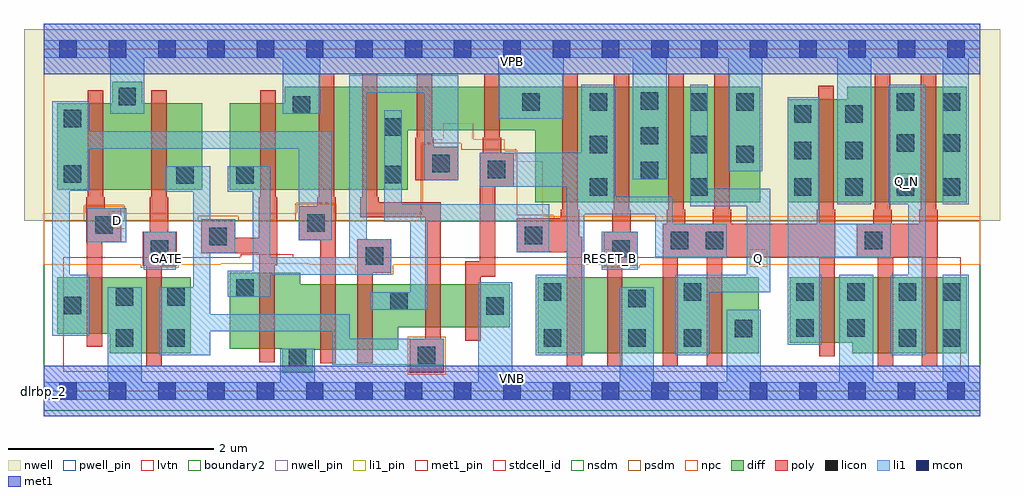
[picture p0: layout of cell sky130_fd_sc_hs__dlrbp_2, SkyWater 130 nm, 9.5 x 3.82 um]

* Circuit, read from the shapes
.subckt sky130_fd_sc_hs__dlrbp_2 D GATE Q Q_N RESET_B VGND VNB VPB VPWR
XM1 VGND D n1 VNB sky130_fd_pr__nfet_01v8_lvt w=0.55 l=0.15
XM2 n2 GATE VGND VNB sky130_fd_pr__nfet_01v8_lvt w=0.74 l=0.15
XM3 VGND n2 n3 VNB sky130_fd_pr__nfet_01v8_lvt w=0.74 l=0.15
XM4 n4 n1 VGND VNB sky130_fd_pr__nfet_01v8_lvt w=0.64 l=0.15
XM5 n5 n3 n4 VNB sky130_fd_pr__nfet_01v8_lvt w=0.64 l=0.15
XM6 n6 n2 n5 VNB sky130_fd_pr__nfet_01v8_lvt w=0.42 l=0.15
XM7 VGND n7 n6 VNB sky130_fd_pr__nfet_01v8_lvt w=0.42 l=0.15
XM8 n8 n5 n7 VNB sky130_fd_pr__nfet_01v8_lvt w=0.74 l=0.15
XM9 VGND RESET_B n8 VNB sky130_fd_pr__nfet_01v8_lvt w=0.74 l=0.15
XM10 Q n7 VGND VNB sky130_fd_pr__nfet_01v8_lvt w=0.74 l=0.15 m=2
XM11 VGND n7 n9 VNB sky130_fd_pr__nfet_01v8_lvt w=0.64 l=0.15
XM12 Q_N n9 VGND VNB sky130_fd_pr__nfet_01v8_lvt w=0.74 l=0.15 m=2
XM13 VPWR D n1 VPB sky130_fd_pr__pfet_01v8 w=0.84 l=0.15
XM14 n2 GATE VPWR VPB sky130_fd_pr__pfet_01v8 w=0.84 l=0.15
XM15 VPWR n2 n3 VPB sky130_fd_pr__pfet_01v8 w=0.84 l=0.15
XM16 n10 n1 VPWR VPB sky130_fd_pr__pfet_01v8 w=1 l=0.15
XM17 n5 n2 n10 VPB sky130_fd_pr__pfet_01v8 w=1 l=0.15
XM18 n11 n3 n5 VPB sky130_fd_pr__pfet_01v8 w=0.42 l=0.15
XM19 VPWR n7 n11 VPB sky130_fd_pr__pfet_01v8 w=0.42 l=0.15
XM20 n7 n5 VPWR VPB sky130_fd_pr__pfet_01v8 w=1.12 l=0.15
XM21 VPWR RESET_B n7 VPB sky130_fd_pr__pfet_01v8 w=1.12 l=0.15
XM22 Q n7 VPWR VPB sky130_fd_pr__pfet_01v8 w=1.12 l=0.15 m=2
XM23 VPWR n7 n9 VPB sky130_fd_pr__pfet_01v8 w=1 l=0.15
XM24 Q_N n9 VPWR VPB sky130_fd_pr__pfet_01v8 w=1.12 l=0.15 m=2
.ends

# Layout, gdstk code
import gdstk
lib = gdstk.Library(unit=1e-6, precision=1e-09)
def R(c, l, rs):  # rectangles x0, y0, x1, y1
    for r in rs: c.add(gdstk.rectangle(r[:2], r[2:], *l))
def A(c, l, x, y, w, h, nx, ny, dx, dy):  # array of equal rectangles
    R(c, l, [(x+i*dx, y+j*dy, x+i*dx+w, y+j*dy+h) for i in range(nx) for j in range(ny)])
def P(c, l, *ps):  # polygons
    for p in ps: c.add(gdstk.Polygon(p, *l))
nwell_pin = (64, 16)
nwell = (64, 20)
diff = (65, 20)
poly = (66, 20)
licon = (66, 44)
li1_pin = (67, 16)
li1 = (67, 20)
mcon = (67, 44)
met1_pin = (68, 16)
met1 = (68, 20)
stdcell_id = (81, 4)
nsdm = (93, 44)
psdm = (94, 20)
npc = (95, 20)
pwell_pin = (122, 16)
lvtn = (125, 44)
boundary2 = (236, 0)

sky130_fd_sc_hs__dlrbp_2 = lib.new_cell('sky130_fd_sc_hs__dlrbp_2')
R(sky130_fd_sc_hs__dlrbp_2, nwell_pin, [(0,3.085,9.12,3.33)])
R(sky130_fd_sc_hs__dlrbp_2, nwell, [(-0.19,1.66,9.31,3.52)])
R(sky130_fd_sc_hs__dlrbp_2, diff, [(4.81,0.37,6.96,1.11)])
P(sky130_fd_sc_hs__dlrbp_2, diff, [(1.435,1.11),(0.135,1.11),(0.135,0.56),(0.645,0.56),(0.645,0.37),(1.435,0.37)],
  [(1.545,2.8),(0.96,2.8),(0.96,3.01),(0.67,3.01),(0.67,2.8),(0.135,2.8),(0.135,1.96),(1.545,1.96)],
  [(4.54,1.04),(2.5,1.04),(2.5,1.15),(1.815,1.15),(1.815,0.41),(2.325,0.41),(2.325,0.18),(2.62,0.18),(2.62,0.4),(3.455,0.4),(3.455,0.62),(4.54,0.62)],
  [(6.975,2.96),(2.35,2.96),(2.35,2.8),(1.815,2.8),(1.815,1.96),(3.545,1.96),(3.545,2.54),(4.785,2.54),(4.785,1.84),(6.975,1.84)],
  [(8.985,2.96),(7.825,2.96),(7.825,2.84),(7.245,2.84),(7.245,1.84),(8.985,1.84)],
  [(8.985,1.11),(7.265,1.11),(7.265,0.47),(7.87,0.47),(7.87,0.37),(8.985,0.37)])
P(sky130_fd_sc_hs__dlrbp_2, poly, [(1.295,1.55),(1.215,1.55),(1.215,1.885),(1.2,1.885),(1.2,2.93),(1.05,2.93),(1.05,1.885),(1.035,1.885),(1.035,1.55),(0.965,1.55),(0.965,1.22),(1,1.22),(1,0.24),(1.15,0.24),(1.15,1.22),(1.295,1.22)],
  [(0.755,1.78),(0.595,1.78),(0.595,1.885),(0.58,1.885),(0.58,2.93),(0.43,2.93),(0.43,1.885),(0.415,1.885),(0.415,1.45),(0.42,1.45),(0.42,0.43),(0.57,0.43),(0.57,1.45),(0.755,1.45)],
  [(2.275,1.885),(2.26,1.885),(2.26,2.93),(2.11,2.93),(2.11,1.885),(2.095,1.885),(2.095,1.49),(1.865,1.49),(1.865,1.67),(1.535,1.67),(1.535,1.34),(2.1,1.34),(2.1,0.28),(2.25,0.28),(2.25,1.225),(2.275,1.225)],
  [(2.845,1.885),(2.83,1.885),(2.83,3.09),(2.68,3.09),(2.68,1.885),(2.665,1.885),(2.665,1.8),(2.485,1.8),(2.485,1.47),(2.695,1.47),(2.695,0.27),(2.845,0.27)],
  [(3.385,1.48),(3.055,1.48),(3.055,0.27),(3.205,0.27),(3.205,1.15),(3.385,1.15)],
  [(3.895,0.51),(3.865,0.51),(3.865,1.84),(3.265,1.84),(3.265,1.885),(3.25,1.885),(3.25,3.09),(3.1,3.09),(3.1,1.885),(3.085,1.885),(3.085,1.69),(3.715,1.69),(3.715,0.51),(3.565,0.51),(3.565,0.18),(3.895,0.18)],
  [(4.035,2.38),(3.8,2.38),(3.8,2.465),(3.785,2.465),(3.785,3.09),(3.635,3.09),(3.635,2.465),(3.62,2.465),(3.62,2.05),(4.035,2.05)],
  [(4.575,2.32),(4.455,2.32),(4.455,2.465),(4.44,2.465),(4.44,3.09),(4.29,3.09),(4.29,2.465),(4.275,2.465),(4.275,2.32),(4.245,2.32),(4.245,1.265),(4.105,1.265),(4.105,0.49),(4.255,0.49),(4.255,1.115),(4.395,1.115),(4.395,1.99),(4.575,1.99)],
  [(5.245,1.5),(5.215,1.5),(5.215,1.765),(5.2,1.765),(5.2,3.09),(5.05,3.09),(5.05,1.765),(5.035,1.765),(5.035,1.68),(4.605,1.68),(4.605,1.35),(5.095,1.35),(5.095,0.24),(5.245,0.24)],
  [(5.785,1.55),(5.715,1.55),(5.715,1.765),(5.7,1.765),(5.7,3.09),(5.55,3.09),(5.55,1.765),(5.535,1.765),(5.535,1.55),(5.455,1.55),(5.455,1.22),(5.485,1.22),(5.485,0.24),(5.635,0.24),(5.635,1.22),(5.785,1.22)],
  [(7.705,1.765),(7.69,1.765),(7.69,2.97),(7.54,2.97),(7.54,1.765),(7.525,1.765),(7.525,1.63),(6.695,1.63),(6.695,1.765),(6.68,1.765),(6.68,3.09),(6.53,3.09),(6.53,1.765),(6.515,1.765),(6.515,1.63),(6.245,1.63),(6.245,1.765),(6.23,1.765),(6.23,3.09),(6.08,3.09),(6.08,1.765),(6.065,1.765),(6.065,1.63),(6.025,1.63),(6.025,0.24),(6.175,0.24),(6.175,1.3),(6.455,1.3),(6.455,0.24),(6.605,0.24),(6.605,1.3),(7.55,1.3),(7.55,0.34),(7.7,0.34),(7.7,1.3),(7.705,1.3)],
  [(8.705,1.765),(8.69,1.765),(8.69,3.09),(8.54,3.09),(8.54,1.765),(8.525,1.765),(8.525,1.63),(8.255,1.63),(8.255,1.765),(8.24,1.765),(8.24,3.09),(8.09,3.09),(8.09,1.765),(8.075,1.765),(8.075,1.63),(7.915,1.63),(7.915,1.3),(8.12,1.3),(8.12,0.24),(8.27,0.24),(8.27,1.3),(8.55,1.3),(8.55,0.24),(8.7,0.24),(8.7,1.3),(8.705,1.3)])
A(sky130_fd_sc_hs__dlrbp_2, licon, 7.325, 0.88, 0.17, 0.17, 3, 1, 0.5, 0)
A(sky130_fd_sc_hs__dlrbp_2, licon, 5.315, 1.9, 0.17, 0.17, 1, 3, 0, 0.415)
A(sky130_fd_sc_hs__dlrbp_2, licon, 6.295, 1.9, 0.17, 0.17, 1, 3, 0, 0.415)
A(sky130_fd_sc_hs__dlrbp_2, licon, 7.305, 1.9, 0.17, 0.17, 3, 1, 0.5, 0)
A(sky130_fd_sc_hs__dlrbp_2, licon, 5.815, 2.06, 0.17, 0.17, 1, 3, 0, 0.34)
R(sky130_fd_sc_hs__dlrbp_2, licon, [(2.385,0.24,2.555,0.41), (3.645,0.26,3.815,0.43), (0.705,0.43,0.875,0.6), (1.205,0.43,1.375,0.6), (4.87,0.43,5.04,0.6), (5.69,0.43,5.86,0.6), (6.23,0.43,6.4,0.6), (8.325,0.43,8.495,0.6), (8.755,0.43,8.925,0.6), (6.73,0.525,6.9,0.695), (7.325,0.53,7.495,0.7), (7.825,0.53,7.995,0.7), (4.31,0.745,4.48,0.915), (0.195,0.75,0.365,0.92), (3.375,0.79,3.545,0.96), (5.69,0.815,5.86,0.985), (0.705,0.83,0.875,1), (1.205,0.83,1.375,1), (4.87,0.88,5.04,1.05), (6.23,0.88,6.4,1.05), (8.755,0.88,8.925,1.05), (1.875,0.92,2.045,1.09), (3.135,1.23,3.305,1.4), (1.045,1.3,1.215,1.47), (5.535,1.3,5.705,1.47), (6.105,1.38,6.275,1.55), (6.445,1.38,6.615,1.55), (7.995,1.38,8.165,1.55), (1.615,1.42,1.785,1.59), (4.685,1.43,4.855,1.6), (0.505,1.53,0.675,1.7), (2.565,1.55,2.735,1.72), (8.755,1.9,8.925,2.07), (1.29,2.02,1.46,2.19), (1.875,2.02,2.045,2.19), (3.315,2.025,3.485,2.195), (0.195,2.03,0.365,2.2), (4.325,2.07,4.495,2.24), (3.785,2.13,3.955,2.3), (6.745,2.22,6.915,2.39), (7.305,2.255,7.475,2.425), (7.805,2.255,7.975,2.425), (8.305,2.33,8.475,2.5), (8.755,2.33,8.925,2.5), (3.315,2.485,3.485,2.655), (0.195,2.57,0.365,2.74), (7.305,2.61,7.475,2.78), (7.805,2.61,7.975,2.78), (2.425,2.7,2.595,2.87), (4.66,2.73,4.83,2.9), (6.745,2.73,6.915,2.9), (8.305,2.73,8.475,2.9), (8.755,2.73,8.925,2.9), (0.73,2.78,0.9,2.95)])
R(sky130_fd_sc_hs__dlrbp_2, li1_pin, [(1.115,1.21,1.285,1.38), (5.435,1.21,5.605,1.38), (6.875,1.21,7.045,1.38), (0.635,1.58,0.805,1.75), (8.315,1.95,8.485,2.12)])
R(sky130_fd_sc_hs__dlrbp_2, li1, [(0.975,1.18,1.285,1.55), (5.435,1.18,5.785,1.55), (0.425,1.45,0.805,1.78)])
P(sky130_fd_sc_hs__dlrbp_2, li1, [(0.65,2.7),(0.65,3.245),(0,3.245),(0,3.415),(9.12,3.415),(9.12,3.245),(9.005,3.245),(9.005,1.82),(8.755,1.82),(8.755,3.245),(8.055,3.245),(8.055,1.82),(7.725,1.82),(7.725,3.245),(6.995,3.245),(6.995,2.14),(6.665,2.14),(6.665,3.245),(6.065,3.245),(6.065,2.06),(5.735,2.06),(5.735,3.245),(5.065,3.245),(5.065,2.65),(4.425,2.65),(4.425,3.245),(2.695,3.245),(2.695,2.7),(2.33,2.7),(2.33,3.245),(0.98,3.245),(0.98,2.7)],
  [(0.625,0.085),(0.625,1.01),(0.955,1.01),(0.955,0.085),(2.305,0.085),(2.305,0.41),(2.64,0.41),(2.64,0.085),(4.23,0.085),(4.23,1.06),(4.56,1.06),(4.56,0.085),(5.61,0.085),(5.61,1.01),(5.94,1.01),(5.94,0.085),(6.65,0.085),(6.65,0.79),(6.98,0.79),(6.98,0.085),(7.745,0.085),(7.745,1.13),(8.075,1.13),(8.075,0.085),(8.755,0.085),(8.755,1.13),(9.005,1.13),(9.005,0.085),(9.12,0.085),(9.12,-0.085),(0,-0.085),(0,0.085)],
  [(6.48,0.96),(6.48,0.35),(6.15,0.35),(6.15,1.13),(6.845,1.13),(6.845,1.8),(6.295,1.8),(6.295,2.98),(6.465,2.98),(6.465,1.97),(7.075,1.97),(7.075,0.96)],
  [(7.555,1.63),(8.245,1.63),(8.245,1.3),(7.555,1.3),(7.555,1.13),(7.575,1.13),(7.575,0.45),(7.245,0.45),(7.245,2.86),(7.555,2.86)],
  [(1.125,0.35),(1.125,1.01),(1.455,1.01),(1.455,1.94),(1.185,1.94),(1.185,2.19),(1.625,2.19),(1.625,1.67),(1.865,1.67),(1.865,1.34),(1.625,1.34),(1.625,0.75),(2.98,0.75),(2.98,0.51),(3.895,0.51),(3.895,0.255),(2.81,0.255),(2.81,0.58),(1.625,0.58),(1.625,0.35)],
  [(2.975,3.075),(4.035,3.075),(4.035,2.05),(3.705,2.05),(3.705,2.905),(3.145,2.905),(3.145,1.48),(3.385,1.48),(3.385,1.13),(2.205,1.13),(2.205,0.92),(1.795,0.92),(1.795,1.17),(2.035,1.17),(2.035,1.94),(1.795,1.94),(1.795,2.19),(2.205,2.19),(2.205,1.3),(2.975,1.3)],
  [(5.095,1.99),(4.245,1.99),(4.245,2.32),(5.235,2.32),(5.235,2.98),(5.565,2.98),(5.565,1.89),(6.125,1.89),(6.125,1.63),(6.65,1.63),(6.65,1.3),(5.955,1.3),(5.955,1.72),(5.265,1.72),(5.265,0.35),(4.79,0.35),(4.79,1.13),(5.095,1.13)],
  [(8.225,1.82),(8.225,2.98),(8.585,2.98),(8.585,0.35),(8.245,0.35),(8.245,1.13),(8.415,1.13),(8.415,1.82)],
  [(2.485,1.47),(2.485,2.36),(0.445,2.36),(0.445,1.95),(0.255,1.95),(0.255,1.13),(0.445,1.13),(0.445,0.54),(0.085,0.54),(0.085,2.82),(0.445,2.82),(0.445,2.53),(2.805,2.53),(2.805,1.47)],
  [(3.57,0.96),(3.57,1.65),(3.315,1.65),(3.315,2.735),(3.485,2.735),(3.485,1.82),(4.925,1.82),(4.925,1.35),(4.605,1.35),(4.605,1.65),(3.74,1.65),(3.74,0.79),(3.18,0.79),(3.18,0.96)])
A(sky130_fd_sc_hs__dlrbp_2, mcon, 0.155, -0.085, 0.17, 0.17, 19, 2, 0.48, 3.33)
R(sky130_fd_sc_hs__dlrbp_2, met1_pin, [(0,0,9.12,0.245), (0,3.085,9.12,3.33)])
R(sky130_fd_sc_hs__dlrbp_2, met1, [(0,-0.245,9.12,0.245), (0,3.085,9.12,3.575)])
R(sky130_fd_sc_hs__dlrbp_2, stdcell_id, [(0,0,9.12,3.33)])
R(sky130_fd_sc_hs__dlrbp_2, nsdm, [(0,-0.19,9.12,1.66)])
P(sky130_fd_sc_hs__dlrbp_2, psdm, [(9.12,3.52),(0,3.52),(0,1.66),(0.395,1.66),(0.395,1.81),(0.785,1.81),(0.785,1.66),(1.505,1.66),(1.505,1.7),(1.895,1.7),(1.895,1.66),(2.455,1.66),(2.455,1.83),(2.845,1.83),(2.845,1.66),(3.675,1.66),(3.675,2.41),(4.065,2.41),(4.065,2.35),(4.605,2.35),(4.605,1.71),(4.965,1.71),(4.965,1.66),(9.12,1.66)])
R(sky130_fd_sc_hs__dlrbp_2, npc, [(3.545,0.16,3.915,0.53)])
P(sky130_fd_sc_hs__dlrbp_2, npc, [(9.12,1.7),(4.86,1.7),(4.86,2.235),(4.595,2.235),(4.595,2.34),(4.49,2.34),(4.49,2.45),(4.185,2.45),(4.185,2.605),(3.89,2.605),(3.89,2.45),(3.79,2.45),(3.79,2.4),(3.685,2.4),(3.685,1.73),(2.835,1.73),(2.835,1.82),(2.465,1.82),(2.465,1.73),(0.775,1.73),(0.775,1.8),(0.405,1.8),(0.405,1.73),(0,1.73),(0,1.23),(0.945,1.23),(0.945,1.2),(1.315,1.2),(1.315,1.23),(1.725,1.23),(1.725,1.24),(2.59,1.24),(2.59,1.23),(3.035,1.23),(3.035,1.13),(3.405,1.13),(3.405,1.23),(5.435,1.23),(5.435,1.2),(5.805,1.2),(5.805,1.23),(9.12,1.23)])
R(sky130_fd_sc_hs__dlrbp_2, pwell_pin, [(0,0,9.12,0.245)])
P(sky130_fd_sc_hs__dlrbp_2, lvtn, [(8.93,1.3),(2.43,1.3),(2.43,1.33),(1.92,1.33),(1.92,1.3),(0.19,1.3),(0.19,0.19),(8.93,0.19)])
R(sky130_fd_sc_hs__dlrbp_2, boundary2, [(0,0,9.12,3.33)])
sky130_fd_sc_hs__dlrbp_2.add(gdstk.Label('dlrbp_2', (0,0), layer=83, texttype=44))
sky130_fd_sc_hs__dlrbp_2.add(gdstk.Label('VNB', (4.56,0.123), layer=64, texttype=59))
sky130_fd_sc_hs__dlrbp_2.add(gdstk.Label('VPB', (4.56,3.208), layer=64, texttype=5))
sky130_fd_sc_hs__dlrbp_2.add(gdstk.Label('VPWR', (4.56,3.208), layer=68, texttype=5))
sky130_fd_sc_hs__dlrbp_2.add(gdstk.Label('VGND', (4.56,0.123), layer=68, texttype=5))
sky130_fd_sc_hs__dlrbp_2.add(gdstk.Label('GATE', (1.2,1.295), layer=67, texttype=5))
sky130_fd_sc_hs__dlrbp_2.add(gdstk.Label('D', (0.72,1.665), layer=67, texttype=5))
sky130_fd_sc_hs__dlrbp_2.add(gdstk.Label('RESET_B', (5.52,1.295), layer=67, texttype=5))
sky130_fd_sc_hs__dlrbp_2.add(gdstk.Label('Q_N', (8.4,2.035), layer=67, texttype=5))
sky130_fd_sc_hs__dlrbp_2.add(gdstk.Label('Q', (6.96,1.295), layer=67, texttype=5))

lib.write_gds('sky130_fd_sc_hs__dlrbp_2.gds')
